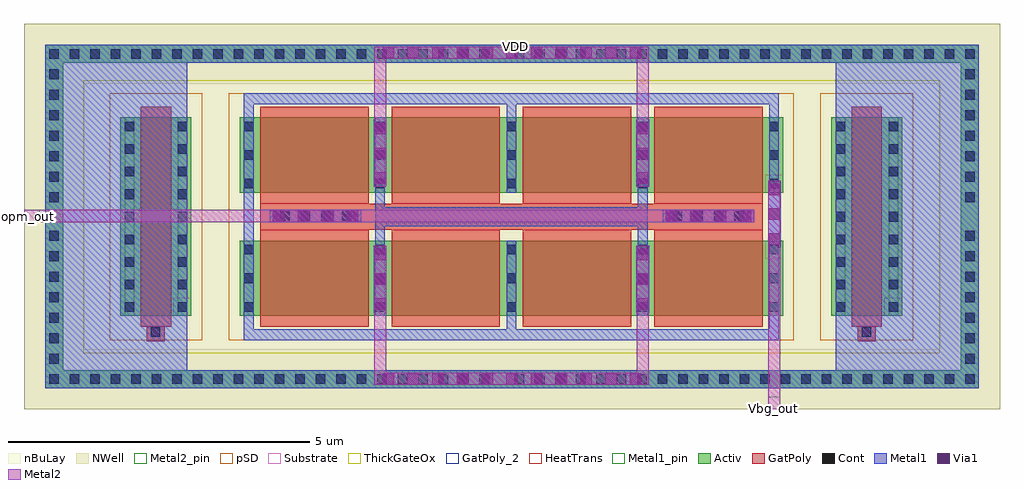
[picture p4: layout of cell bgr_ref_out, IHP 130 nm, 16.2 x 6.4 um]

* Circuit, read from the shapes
.subckt bgr_ref_out VDD Vbg_out opm_out
XM1 VDD VDD VDD VDD sg13_hv_pmos w=3.295u l=0.5u m=2
XM2 VDD opm_out Vbg_out VDD sg13_hv_pmos w=1.25u l=1.8u m=8
.ends

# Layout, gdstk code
import gdstk
lib = gdstk.Library(unit=1e-6, precision=1e-09)
def R(c, l, rs):  # rectangles x0, y0, x1, y1
    for r in rs: c.add(gdstk.rectangle(r[:2], r[2:], *l))
def A(c, l, x, y, w, h, nx, ny, dx, dy):  # array of equal rectangles
    R(c, l, [(x+i*dx, y+j*dy, x+i*dx+w, y+j*dy+h) for i in range(nx) for j in range(ny)])
def P(c, l, *ps):  # polygons
    for p in ps: c.add(gdstk.Polygon(p, *l))
Activ = (1, 0)
GatPoly = (5, 0)
GatPoly_2 = (5, 2)
Cont = (6, 0)
Metal1 = (8, 0)
Metal1_pin = (8, 2)
Metal2 = (10, 0)
Metal2_pin = (10, 2)
pSD = (14, 0)
Via1 = (19, 0)
NWell = (31, 0)
nBuLay = (32, 0)
Substrate = (40, 0)
ThickGateOx = (44, 0)
HeatTrans = (51, 0)

pmoshv_4 = lib.new_cell('pmosHV$4')
A(pmoshv_4, Activ, 0, 0, 0.3, 0.3, 5, 1, 2.18, 0)
R(pmoshv_4, Activ, [(0,0,9.02,1.25)])
A(pmoshv_4, GatPoly, 0.34, -0.18, 1.8, 1.61, 4, 1, 2.18, 0)
R(pmoshv_4, GatPoly_2, [(0.34,-0.18,2.14,1.43)])
A(pmoshv_4, Cont, 0.07, 0.07, 0.16, 0.16, 5, 3, 2.18, 0.475)
A(pmoshv_4, Metal1, 0.07, 0, 0.16, 1.25, 5, 1, 2.18, 0)
R(pmoshv_4, Metal1_pin, [(0.07,0,0.23,1.25), (2.25,0,2.41,1.25)])
R(pmoshv_4, pSD, [(-0.18,-0.4,9.2,1.65)])
R(pmoshv_4, NWell, [(-0.62,-0.62,9.64,1.87)])
R(pmoshv_4, Substrate, [(8.72,0,9.02,0.3)])
R(pmoshv_4, ThickGateOx, [(-0.62,-0.62,9.64,1.87)])
A(pmoshv_4, HeatTrans, 0.34, -0.18, 1.8, 1.61, 4, 1, 2.18, 0)
pmoshv_4.add(gdstk.Label('pmosHV', (1.24,0.625), layer=63, texttype=0))
pmoshv_4.add(gdstk.Label('pmos', (1.24,0.625), layer=51, texttype=0))
pmoshv_4.add(gdstk.Label('pmos', (3.42,0.625), layer=51, texttype=0))
pmoshv_4.add(gdstk.Label('pmos', (5.6,0.625), layer=51, texttype=0))
pmoshv_4.add(gdstk.Label('pmos', (7.78,0.625), layer=51, texttype=0))

via_stack_43 = lib.new_cell('via_stack$43')
R(via_stack_43, GatPoly, [(-0.66,-0.15,0.66,0.15)])
A(via_stack_43, Cont, -0.59, -0.08, 0.16, 0.16, 4, 1, 0.34, 0)
R(via_stack_43, Metal1, [(-0.76,-0.105,0.76,0.105)])
R(via_stack_43, Metal2, [(-0.76,-0.1,0.76,0.1)])
A(via_stack_43, Via1, -0.71, -0.095, 0.19, 0.19, 4, 1, 0.41, 0)

pmoshv_7 = lib.new_cell('pmosHV$7')
R(pmoshv_7, Activ, [(0,0,0.3,0.3), (0,0,1.18,3.295), (0.88,0,1.18,0.3)])
R(pmoshv_7, GatPoly, [(0.34,-0.18,0.84,3.475)])
R(pmoshv_7, GatPoly_2, [(0.34,-0.18,0.84,3.475)])
A(pmoshv_7, Cont, 0.07, 0.44, 0.16, 0.16, 1, 8, 0, 0.375)
A(pmoshv_7, Cont, 0.95, 0.44, 0.16, 0.16, 1, 8, 0, 0.375)
R(pmoshv_7, Cont, [(0.07,0.07,0.23,0.23), (0.95,0.07,1.11,0.23)])
R(pmoshv_7, Metal1, [(0.07,0,0.23,3.295), (0.95,0,1.11,3.295)])
R(pmoshv_7, Metal1_pin, [(0.07,0,0.23,3.295), (0.95,0,1.11,3.295)])
R(pmoshv_7, pSD, [(-0.18,-0.4,1.36,3.695)])
R(pmoshv_7, NWell, [(-0.62,-0.62,1.8,3.915)])
R(pmoshv_7, Substrate, [(0.88,0,1.18,0.3)])
R(pmoshv_7, ThickGateOx, [(-0.62,-0.62,1.8,3.915)])
R(pmoshv_7, HeatTrans, [(0.34,-0.18,0.84,3.475)])
pmoshv_7.add(gdstk.Label('pmosHV', (0.59,1.648), layer=63, texttype=0))
pmoshv_7.add(gdstk.Label('pmos', (0.59,1.648), layer=51, texttype=0))

via_stack_47 = lib.new_cell('via_stack$47')
R(via_stack_47, Metal1, [(-0.105,-0.555,0.105,0.555)])
R(via_stack_47, Metal2, [(-0.1,-0.555,0.1,0.555)])
A(via_stack_47, Via1, -0.095, -0.505, 0.19, 0.19, 1, 3, 0, 0.41)

guard_ring_1 = lib.new_cell('guard_ring$1')
R(guard_ring_1, Activ, [(-7.75,-2.55,-7.45,2.55), (7.45,-2.55,7.75,2.55), (-7.75,2.55,7.75,2.85)])
P(guard_ring_1, Activ, [(-7.75,-2.85),(-7.75,2.55),(-7.45,2.55),(-7.45,-2.55),(7.45,-2.55),(7.45,2.55),(-7.75,2.55),(-7.75,2.85),(7.75,2.85),(7.75,-2.85)])
A(guard_ring_1, Cont, -7.68, -2.78, 0.16, 0.16, 22, 2, 0.34, 5.4)
A(guard_ring_1, Cont, 0.04, -2.78, 0.16, 0.16, 23, 2, 0.34, 5.4)
A(guard_ring_1, Cont, -7.68, -2.44, 0.16, 0.16, 1, 7, 0, 0.34)
A(guard_ring_1, Cont, 7.52, -2.44, 0.16, 0.16, 1, 7, 0, 0.34)
A(guard_ring_1, Cont, -7.68, 0.24, 0.16, 0.16, 1, 7, 0, 0.34)
A(guard_ring_1, Cont, 7.52, 0.24, 0.16, 0.16, 1, 7, 0, 0.34)
R(guard_ring_1, Metal1, [(-7.75,-2.85,7.75,-2.55), (-7.75,-2.55,-7.45,2.55), (7.45,-2.55,7.75,2.55), (-7.75,2.55,7.75,2.85)])
R(guard_ring_1, NWell, [(-8.1,-3.2,8.1,3.2)])
R(guard_ring_1, nBuLay, [(-8.1,-2.2,-7.1,2.2), (7.1,-2.2,8.1,2.2), (-8.1,2.2,8.1,3.2)])
P(guard_ring_1, nBuLay, [(-8.1,-3.2),(-8.1,2.2),(-7.1,2.2),(-7.1,-2.2),(7.1,-2.2),(7.1,2.2),(-8.1,2.2),(-8.1,3.2),(8.1,3.2),(8.1,-3.2)])
guard_ring_1.add(gdstk.Label('well', (0,-2.7), layer=63, texttype=0))

via_stack_48 = lib.new_cell('via_stack$48')
R(via_stack_48, Metal1, [(-2.195,-0.105,2.195,0.105)])
R(via_stack_48, Metal2, [(-2.195,-0.1,2.195,0.1)])
A(via_stack_48, Via1, -2.145, -0.095, 0.19, 0.19, 11, 1, 0.41, 0)

via_stack_49 = lib.new_cell('via_stack$49')
R(via_stack_49, GatPoly, [(-0.15,-0.15,0.15,0.15)])
R(via_stack_49, Cont, [(-0.08,-0.08,0.08,0.08)])
R(via_stack_49, Metal1, [(-0.13,-0.08,0.13,0.08)])

bgr_ref_out = lib.new_cell('bgr_ref_out')
R(bgr_ref_out, GatPoly, [(3.92,2.98,12.26,3.415)])
R(bgr_ref_out, Metal1, [(0.35,0.35,2.71,6.05), (13.47,0.35,15.7,6.05), (3.65,1.15,3.81,1.55), (3.65,1.15,12.53,1.325), (8.01,1.15,8.17,1.6), (12.37,1.15,12.53,1.55), (12.37,2.415,12.53,3.595), (3.65,2.5,3.81,3.865), (5.83,2.795,5.99,3.195), (10.19,2.795,10.35,3.195), (5.83,3.04,10.35,3.195), (5.83,3.195,5.99,3.595), (5.83,3.195,10.35,3.35), (10.19,3.195,10.35,3.595), (8.01,4.795,8.17,5.245), (3.65,4.845,3.81,5.245), (12.37,4.845,12.53,5.245), (3.65,5.065,12.53,5.245)])
R(bgr_ref_out, Metal2, [(12.355,0,12.555,2.685), (5.81,0.405,6.01,1.605), (10.17,0.405,10.37,1.605), (0,3.105,4.155,3.31), (4.08,3.105,12.12,3.31), (5.81,4.795,6.01,6.02), (10.17,4.795,10.37,6.02)])
R(bgr_ref_out, Metal2_pin, [(12.355,0,12.555,0.21), (0,3.105,0.26,3.31), (7.56,5.82,9.025,6.02)])
bgr_ref_out.add(gdstk.Reference(pmoshv_4, (3.58,3.595)))
bgr_ref_out.add(gdstk.Reference(pmoshv_4, (3.58,2.8), x_reflection=True))
bgr_ref_out.add(gdstk.Reference(via_stack_43, (11.36,3.21)))
bgr_ref_out.add(gdstk.Reference(via_stack_43, (4.84,3.21)))
bgr_ref_out.add(gdstk.Reference(pmoshv_7, (1.6,1.55)))
bgr_ref_out.add(gdstk.Reference(pmoshv_7, (13.4,1.55)))
bgr_ref_out.add(gdstk.Reference(via_stack_47, (5.91,4.25)))
bgr_ref_out.add(gdstk.Reference(via_stack_47, (10.27,4.25)))
bgr_ref_out.add(gdstk.Reference(via_stack_47, (5.91,2.16)))
bgr_ref_out.add(gdstk.Reference(via_stack_47, (10.27,2.16)))
bgr_ref_out.add(gdstk.Reference(guard_ring_1, (8.1,3.2)))
bgr_ref_out.add(gdstk.Reference(via_stack_48, (8.1,5.92)))
bgr_ref_out.add(gdstk.Reference(via_stack_48, (8.1,0.505)))
bgr_ref_out.add(gdstk.Reference(via_stack_47, (12.455,3.24)))
bgr_ref_out.add(gdstk.Reference(via_stack_49, (2.185,1.28)))
bgr_ref_out.add(gdstk.Reference(via_stack_49, (13.985,1.28)))
bgr_ref_out.add(gdstk.Label('opm_out', (0,3.2), layer=10, texttype=2))
bgr_ref_out.add(gdstk.Label('Vbg_out', (12.44,0.005), layer=10, texttype=2))
bgr_ref_out.add(gdstk.Label('VDD', (8.15,6.02), layer=10, texttype=2))

lib.write_gds('bgr_ref_out.gds')
